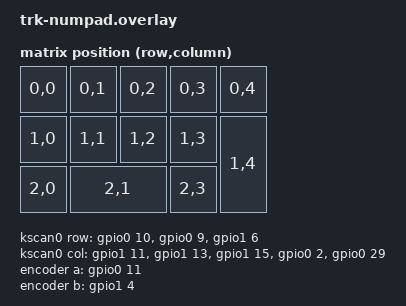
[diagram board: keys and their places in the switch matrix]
#include <dt-bindings/zmk/matrix_transform.h>
#include <dt-bindings/zmk/bt.h>
#include <dt-bindings/zmk/keys.h>
#include <dt-bindings/zmk/pointing.h>
#include <physical_layouts.dtsi>

/ {
    chosen {
        zmk,physical-layout = &physical_layout0;
    };

    physical_layout0: physical_layout_0 {
        compatible = "zmk,physical-layout";
        display-name = "Default Layout";
        kscan = <&kscan0>;
        transform = <&default_transform>;
	keys  //                      w   h x y rot rx ry
	    = <&key_physical_attrs 100 100   0   0   0  0  0>
	    , <&key_physical_attrs 100 100 100   0   0  0  0>
	    , <&key_physical_attrs 100 100 200   0   0  0  0>
	    , <&key_physical_attrs 100 100 300   0   0  0  0>
	    , <&key_physical_attrs 100 100 400   0   0  0  0>
	    , <&key_physical_attrs 100 100   0 100   0  0  0>
	    , <&key_physical_attrs 100 100 100 100   0  0  0>
	    , <&key_physical_attrs 100 100 200 100   0  0  0>
	    , <&key_physical_attrs 100 100 300 100   0  0  0>
	    , <&key_physical_attrs 100 200 400 100   0  0  0>
	    , <&key_physical_attrs 100 100   0 200   0  0  0>
	    , <&key_physical_attrs 200 100 100 200   0  0  0>
	    , <&key_physical_attrs 100 100 300 200   0  0  0>
	    ;
    };

    default_transform: keymap_transform0 {
        compatible = "zmk,matrix-transform";
        rows = <3>;
        columns = <5>;
        map = <
            RC(0,0) RC(0,1) RC(0,2) RC(0,3) RC(0,4)
			RC(1,0) RC(1,1) RC(1,2) RC(1,3) RC(1,4)
			RC(2,0) RC(2,1)         RC(2,3)
        >;
    };

    kscan0: kscan0 {
        compatible = "zmk,kscan-gpio-matrix";
        diode-direction = "col2row";
        col-gpios
            = <&gpio1    11 GPIO_ACTIVE_HIGH>
            , <&gpio1    13 GPIO_ACTIVE_HIGH>
            , <&gpio1    15 GPIO_ACTIVE_HIGH>
            , <&gpio0     2 GPIO_ACTIVE_HIGH>
            , <&gpio0    29 GPIO_ACTIVE_HIGH>
            ;
        row-gpios
            = <&gpio0    10 (GPIO_ACTIVE_HIGH | GPIO_PULL_DOWN)>
            , <&gpio0     9 (GPIO_ACTIVE_HIGH | GPIO_PULL_DOWN)>
            , <&gpio1     6 (GPIO_ACTIVE_HIGH | GPIO_PULL_DOWN)>
            ;
    };

    encoder: encoder {
        compatible = "alps,ec11";
        label = "ENCODER";
        a-gpios = <&gpio0 11 (GPIO_ACTIVE_HIGH | GPIO_PULL_UP)>;
        b-gpios = <&gpio1  4 (GPIO_ACTIVE_HIGH | GPIO_PULL_UP)>;
        resolution = <2>;
    };

    sensors {
        compatible = "zmk,keymap-sensors";
        sensors = <&encoder>;
    };
};
